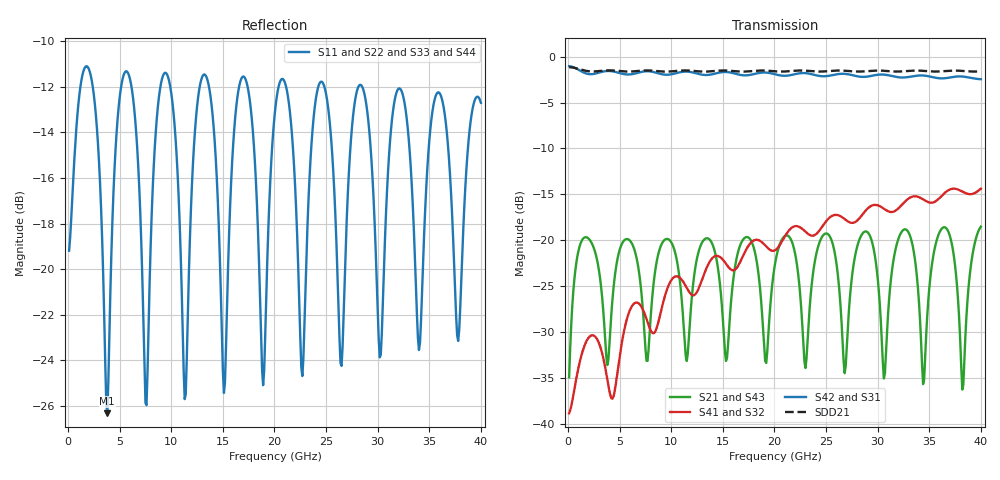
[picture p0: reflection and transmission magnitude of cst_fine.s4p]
! T_ts6_diff_sl: Edge-coupled stripline pair In2, w 0.1 / s 0.15 mm, 20 mm
! stackup: ThunderScope Rev5.3 6-layer (FR408HR / FR-4, from the board file)
! ports: 1 near A, 2 near B, 3 far A, 4 far B
! CST Studio Suite 2025.5 Release from 2025-05-30, time domain (FIT, hexahedral, PBA), 383724 mesh cells, 109 s
! mesh: {'lpw': 30.0, 'lpb': 30.0, 'minstep': 0.0, 'ratio': 20}; ports: port 1 (face); port 2 (face); port 3 (face); port 4 (face)
! interpolated from CST's 1001 samples to the case grid
# Hz S RI R 50
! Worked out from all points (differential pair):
!   400 points, 100 MHz to 40 GHz, reference 50 ohm
!   strongest paths, dB at 100 MHz, 10.1 GHz, 20.1 GHz, 30.1 GHz, 40 GHz:
!     S42: -1.0, -1.9, -1.9, -2.0, -2.4
!     S31: -1.0, -1.9, -1.9, -2.0, -2.4
!     S41: -38.9, -24.2, -21.1, -16.2, -14.4
!     S32: -38.9, -24.2, -21.1, -16.2, -14.4
!     S21: -34.9, -20.4, -22.3, -25.4, -18.5
!     S43: -34.9, -20.4, -22.3, -25.4, -18.5
!   taken as a pair (ports 2,1 in; 4,3 out), SDD21 dB: -1.1, -1.6, -1.6, -1.5, -1.6
!   lowest |S11| = -26.3 dB at 3.8 GHz (marker M1), VSWR 1.10, Z = 54.9 + j1.35 ohm
!   |S11| at or under -10 dB: start of sweep to end of sweep
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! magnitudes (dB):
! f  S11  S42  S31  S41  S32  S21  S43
! 100 MHz  -19.2  -1.0  -1.0  -38.9  -38.9  -34.9  -34.9
! 3.8 GHz  -26.3  -1.6  -1.6  -35.2  -35.2  -33.6  -33.6
! 32.7 GHz  -13.0  -2.2  -2.2  -15.7  -15.7  -18.8  -18.8
! 34.4 GHz  -19.7  -2.0  -2.0  -15.5  -15.5  -35.7  -35.7
! 36.5 GHz  -13.2  -2.3  -2.3  -14.8  -14.8  -18.6  -18.6
! 38.2 GHz  -19.3  -2.2  -2.2  -14.7  -14.7  -36.3  -36.3
! 40 GHz  -12.7  -2.4  -2.4  -14.4  -14.4  -18.5  -18.5
